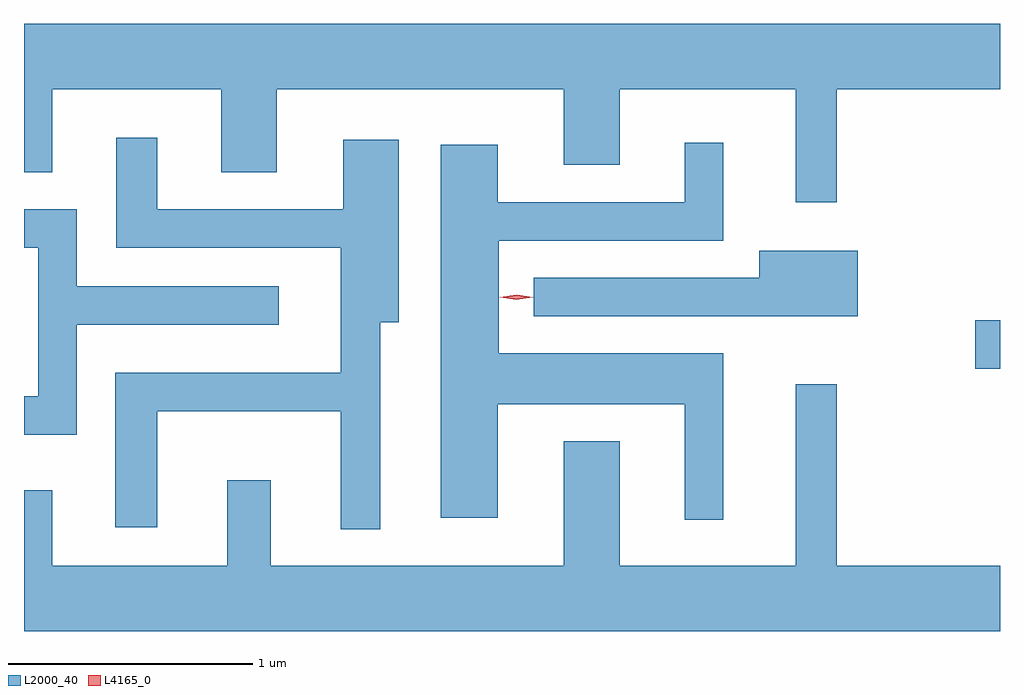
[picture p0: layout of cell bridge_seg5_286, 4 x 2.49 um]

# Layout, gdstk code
import gdstk
lib = gdstk.Library(unit=1e-6, precision=1e-09)
def R(c, l, rs):  # rectangles x0, y0, x1, y1
    for r in rs: c.add(gdstk.rectangle(r[:2], r[2:], *l))
def P(c, l, *ps):  # polygons
    for p in ps: c.add(gdstk.Polygon(p, *l))
L2000_40 = (2000, 40)
L4165_0 = (4165, 0)

bridge_seg5_286 = lib.new_cell('bridge_seg5_286')
R(bridge_seg5_286, L2000_40, [(663.706,1462.311,663.808,1462.509)])
P(bridge_seg5_286, L2000_40, [(663.139,1463.456),(663.808,1463.456),(663.808,1463.724),(659.808,1463.724),(659.808,1463.116),(659.924,1463.116),(659.924,1463.456),(660.616,1463.456),(660.616,1463.116),(660.844,1463.116),(660.844,1463.456),(662.021,1463.456),(662.021,1463.146),(662.249,1463.146),(662.249,1463.456),(662.971,1463.456),(662.971,1462.993),(663.139,1462.993)],
  [(661.269,1462.501),(661.344,1462.501),(661.344,1463.249),(661.116,1463.249),(661.116,1462.964),(660.354,1462.964),(660.354,1463.258),(660.186,1463.258),(660.186,1462.806),(661.106,1462.806),(661.106,1462.294),(660.181,1462.294),(660.181,1461.661),(660.354,1461.661),(660.354,1462.136),(661.106,1462.136),(661.106,1461.653),(661.269,1461.653)],
  [(662.674,1462.374),(661.754,1462.374),(661.754,1462.836),(662.674,1462.836),(662.674,1463.238),(662.516,1463.238),(662.516,1462.994),(661.749,1462.994),(661.749,1463.229),(661.516,1463.229),(661.516,1461.701),(661.749,1461.701),(661.749,1462.166),(662.516,1462.166),(662.516,1461.693),(662.674,1461.693)],
  [(660.024,1462.491),(660.853,1462.491),(660.853,1462.649),(660.024,1462.649),(660.024,1462.964),(659.808,1462.964),(659.808,1462.806),(659.866,1462.806),(659.866,1462.199),(659.808,1462.199),(659.808,1462.041),(660.024,1462.041)],
  [(663.224,1462.794),(662.821,1462.794),(662.821,1462.684),(661.898,1462.684),(661.898,1462.526),(663.224,1462.526)],
  [(663.808,1461.504),(663.139,1461.504),(663.139,1462.248),(662.971,1462.248),(662.971,1461.504),(662.249,1461.504),(662.249,1462.014),(662.021,1462.014),(662.021,1461.504),(660.819,1461.504),(660.819,1461.854),(660.641,1461.854),(660.641,1461.504),(659.924,1461.504),(659.924,1461.814),(659.808,1461.814),(659.808,1461.236),(663.808,1461.236)])
P(bridge_seg5_286, L4165_0, [(661.827,1462.595),(661.758,1462.604),(661.757,1462.605),(661.758,1462.605),(661.827,1462.615),(661.896,1462.605),(661.896,1462.605),(661.896,1462.604)],
  [(661.826,1462.593),(661.76,1462.603),(661.76,1462.603),(661.76,1462.604),(661.826,1462.613),(661.892,1462.604),(661.893,1462.603),(661.892,1462.603)])

lib.write_gds('bridge_seg5_286.gds')
